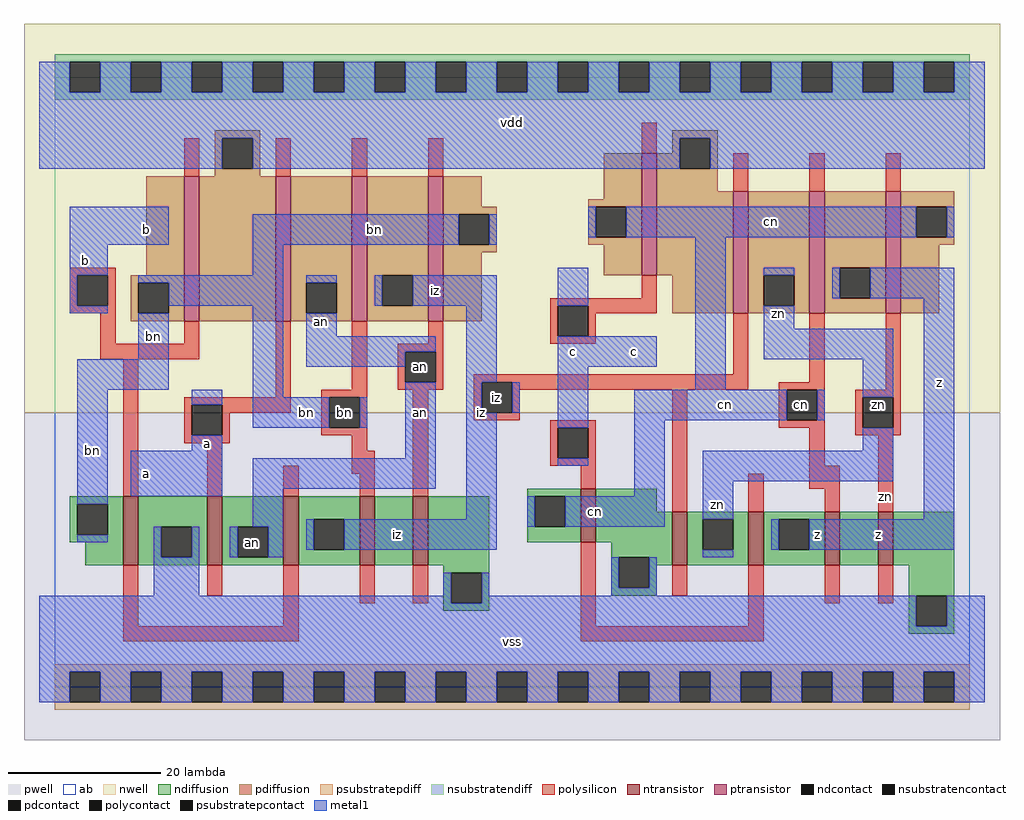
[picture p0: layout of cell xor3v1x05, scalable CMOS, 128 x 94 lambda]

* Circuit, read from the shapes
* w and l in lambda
.subckt xor3v1x05 a an b bn c cn iz vdd vss z zn
M1 vss b bn vss nfet w=9 l=2
M2 an a vss vss nfet w=9 l=2
M3 iz b an vss nfet w=9 l=2
M4 n1 bn iz vss nfet w=9 l=2
M5 vss an n1 vss nfet w=9 l=2
M6 vss c cn vss nfet w=7 l=2
M7 zn iz vss vss nfet w=7 l=2
M8 z c zn vss nfet w=7 l=2
M9 n2 cn z vss nfet w=7 l=2
M10 vss zn n2 vss nfet w=7 l=2
M11 vdd b bn vdd pfet w=19 l=2
M12 an a vdd vdd pfet w=19 l=2
M13 iz bn an vdd pfet w=19 l=2
M14 bn an iz vdd pfet w=19 l=2
M15 vdd c cn vdd pfet w=16 l=2
M16 zn iz vdd vdd pfet w=16 l=2
M17 z cn zn vdd pfet w=16 l=2
M18 cn zn z vdd pfet w=16 l=2
.ends

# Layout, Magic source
magic
tech scmos
<< ab >>
rect 0 0 120 80
<< pwell >>
rect -4 -7 124 36
<< nwell >>
rect -4 36 124 87
<< polysilicon >>
rect 17 67 19 72
rect 29 67 31 72
rect 39 67 41 72
rect 49 67 51 72
rect 77 70 79 74
rect 2 54 8 55
rect 2 50 3 54
rect 7 50 8 54
rect 2 49 8 50
rect 6 45 8 49
rect 89 65 91 70
rect 99 65 101 70
rect 109 65 111 70
rect 77 51 79 54
rect 65 50 79 51
rect 17 45 19 48
rect 6 43 19 45
rect 9 25 11 43
rect 29 38 31 48
rect 39 39 41 48
rect 49 45 51 48
rect 65 46 66 50
rect 70 49 79 50
rect 70 46 71 49
rect 65 45 71 46
rect 45 44 51 45
rect 45 40 46 44
rect 50 40 51 44
rect 89 41 91 49
rect 45 39 51 40
rect 55 40 91 41
rect 99 40 101 49
rect 17 37 31 38
rect 17 33 18 37
rect 22 36 31 37
rect 35 38 41 39
rect 22 33 23 36
rect 35 34 36 38
rect 40 34 41 38
rect 35 33 41 34
rect 17 32 23 33
rect 20 25 22 32
rect 39 31 41 33
rect 30 25 32 29
rect 39 28 42 31
rect 40 25 42 28
rect 47 25 49 39
rect 55 36 56 40
rect 60 39 91 40
rect 95 39 101 40
rect 109 39 111 49
rect 60 36 61 39
rect 55 35 61 36
rect 65 34 71 35
rect 65 30 66 34
rect 70 30 71 34
rect 65 29 71 30
rect 69 26 71 29
rect 81 23 83 39
rect 95 35 96 39
rect 100 35 101 39
rect 95 34 101 35
rect 99 29 101 34
rect 105 38 111 39
rect 105 34 106 38
rect 110 34 111 38
rect 105 33 111 34
rect 91 23 93 28
rect 99 26 103 29
rect 101 23 103 26
rect 108 23 110 33
rect 9 8 11 16
rect 20 12 22 16
rect 30 8 32 16
rect 40 11 42 16
rect 47 11 49 16
rect 9 6 32 8
rect 69 8 71 19
rect 81 12 83 16
rect 91 8 93 16
rect 101 11 103 16
rect 108 11 110 16
rect 69 6 93 8
<< ndiffusion >>
rect 62 25 69 26
rect 2 24 9 25
rect 2 20 3 24
rect 7 20 9 24
rect 2 19 9 20
rect 4 16 9 19
rect 11 21 20 25
rect 11 17 14 21
rect 18 17 20 21
rect 11 16 20 17
rect 22 21 30 25
rect 22 17 24 21
rect 28 17 30 21
rect 22 16 30 17
rect 32 22 40 25
rect 32 18 34 22
rect 38 18 40 22
rect 32 16 40 18
rect 42 16 47 25
rect 49 16 57 25
rect 62 21 63 25
rect 67 21 69 25
rect 62 19 69 21
rect 71 23 79 26
rect 71 19 81 23
rect 51 15 57 16
rect 51 11 52 15
rect 56 11 57 15
rect 51 10 57 11
rect 73 17 81 19
rect 73 13 74 17
rect 78 16 81 17
rect 83 22 91 23
rect 83 18 85 22
rect 89 18 91 22
rect 83 16 91 18
rect 93 22 101 23
rect 93 18 95 22
rect 99 18 101 22
rect 93 16 101 18
rect 103 16 108 23
rect 110 16 118 23
rect 78 13 79 16
rect 73 12 79 13
rect 112 12 118 16
rect 112 8 113 12
rect 117 8 118 12
rect 112 7 118 8
<< pdiffusion >>
rect 21 72 27 73
rect 21 68 22 72
rect 26 68 27 72
rect 21 67 27 68
rect 81 72 87 73
rect 81 70 82 72
rect 12 54 17 67
rect 10 53 17 54
rect 10 49 11 53
rect 15 49 17 53
rect 10 48 17 49
rect 19 48 29 67
rect 31 53 39 67
rect 31 49 33 53
rect 37 49 39 53
rect 31 48 39 49
rect 41 54 49 67
rect 41 50 43 54
rect 47 50 49 54
rect 41 48 49 50
rect 51 63 56 67
rect 72 64 77 70
rect 70 63 77 64
rect 51 62 58 63
rect 51 58 53 62
rect 57 58 58 62
rect 70 59 71 63
rect 75 59 77 63
rect 70 58 77 59
rect 51 57 58 58
rect 51 48 56 57
rect 72 54 77 58
rect 79 68 82 70
rect 86 68 87 72
rect 79 65 87 68
rect 79 54 89 65
rect 81 49 89 54
rect 91 54 99 65
rect 91 50 93 54
rect 97 50 99 54
rect 91 49 99 50
rect 101 55 109 65
rect 101 51 103 55
rect 107 51 109 55
rect 101 49 109 51
rect 111 63 118 65
rect 111 59 113 63
rect 117 59 118 63
rect 111 58 118 59
rect 111 49 116 58
<< metal1 >>
rect -2 78 2 82
rect 6 78 10 82
rect 14 78 18 82
rect 22 78 26 82
rect 30 78 34 82
rect 38 78 42 82
rect 46 78 50 82
rect 54 78 58 82
rect 62 78 66 82
rect 70 78 74 82
rect 78 78 82 82
rect 86 78 90 82
rect 94 78 98 82
rect 102 78 106 82
rect 110 78 114 82
rect 118 78 122 82
rect -2 72 122 78
rect -2 68 22 72
rect 26 68 82 72
rect 86 68 122 72
rect 2 58 15 63
rect 26 58 53 62
rect 57 58 58 62
rect 70 59 71 63
rect 75 59 113 63
rect 117 59 118 63
rect 2 54 7 58
rect 26 54 30 58
rect 2 50 3 54
rect 2 49 7 50
rect 11 53 30 54
rect 15 50 30 53
rect 11 43 15 49
rect 3 39 15 43
rect 3 24 7 39
rect 18 37 22 39
rect 26 38 30 50
rect 33 53 37 54
rect 42 50 43 54
rect 47 50 58 54
rect 33 46 37 49
rect 33 44 50 46
rect 33 42 46 44
rect 26 34 36 38
rect 40 34 41 38
rect 18 31 22 33
rect 10 25 22 31
rect 46 30 50 40
rect 26 26 50 30
rect 54 40 58 50
rect 66 50 70 55
rect 66 42 79 46
rect 54 36 56 40
rect 60 36 61 40
rect 26 21 30 26
rect 54 22 58 36
rect 66 34 70 42
rect 84 39 88 59
rect 93 54 97 55
rect 102 51 103 55
rect 107 51 118 55
rect 93 47 97 50
rect 93 43 110 47
rect 66 29 70 30
rect 76 35 96 39
rect 100 35 101 39
rect 106 38 110 43
rect 76 25 80 35
rect 106 31 110 34
rect 3 19 7 20
rect 13 17 14 21
rect 18 17 19 21
rect 23 17 24 21
rect 28 17 30 21
rect 33 18 34 22
rect 38 18 58 22
rect 62 21 63 25
rect 67 21 80 25
rect 85 27 110 31
rect 85 22 89 27
rect 114 22 118 51
rect 94 18 95 22
rect 99 18 118 22
rect 85 17 89 18
rect 13 12 19 17
rect 51 12 52 15
rect -2 11 52 12
rect 56 12 57 15
rect 73 13 74 17
rect 78 13 79 17
rect 73 12 79 13
rect 56 11 113 12
rect -2 8 113 11
rect 117 8 122 12
rect -2 2 122 8
rect -2 -2 2 2
rect 6 -2 10 2
rect 14 -2 18 2
rect 22 -2 26 2
rect 30 -2 34 2
rect 38 -2 42 2
rect 46 -2 50 2
rect 54 -2 58 2
rect 62 -2 66 2
rect 70 -2 74 2
rect 78 -2 82 2
rect 86 -2 90 2
rect 94 -2 98 2
rect 102 -2 106 2
rect 110 -2 114 2
rect 118 -2 122 2
<< ntransistor >>
rect 9 16 11 25
rect 20 16 22 25
rect 30 16 32 25
rect 40 16 42 25
rect 47 16 49 25
rect 69 19 71 26
rect 81 16 83 23
rect 91 16 93 23
rect 101 16 103 23
rect 108 16 110 23
<< ptransistor >>
rect 17 48 19 67
rect 29 48 31 67
rect 39 48 41 67
rect 49 48 51 67
rect 77 54 79 70
rect 89 49 91 65
rect 99 49 101 65
rect 109 49 111 65
<< polycontact >>
rect 3 50 7 54
rect 66 46 70 50
rect 46 40 50 44
rect 18 33 22 37
rect 36 34 40 38
rect 56 36 60 40
rect 66 30 70 34
rect 96 35 100 39
rect 106 34 110 38
<< ndcontact >>
rect 3 20 7 24
rect 14 17 18 21
rect 24 17 28 21
rect 34 18 38 22
rect 63 21 67 25
rect 52 11 56 15
rect 74 13 78 17
rect 85 18 89 22
rect 95 18 99 22
rect 113 8 117 12
<< pdcontact >>
rect 22 68 26 72
rect 11 49 15 53
rect 33 49 37 53
rect 43 50 47 54
rect 53 58 57 62
rect 71 59 75 63
rect 82 68 86 72
rect 93 50 97 54
rect 103 51 107 55
rect 113 59 117 63
<< psubstratepcontact >>
rect 2 -2 6 2
rect 10 -2 14 2
rect 18 -2 22 2
rect 26 -2 30 2
rect 34 -2 38 2
rect 42 -2 46 2
rect 50 -2 54 2
rect 58 -2 62 2
rect 66 -2 70 2
rect 74 -2 78 2
rect 82 -2 86 2
rect 90 -2 94 2
rect 98 -2 102 2
rect 106 -2 110 2
rect 114 -2 118 2
<< nsubstratencontact >>
rect 2 78 6 82
rect 10 78 14 82
rect 18 78 22 82
rect 26 78 30 82
rect 34 78 38 82
rect 42 78 46 82
rect 50 78 54 82
rect 58 78 62 82
rect 66 78 70 82
rect 74 78 78 82
rect 82 78 86 82
rect 90 78 94 82
rect 98 78 102 82
rect 106 78 110 82
rect 114 78 118 82
<< psubstratepdiff >>
rect 0 2 120 3
rect 0 -2 2 2
rect 6 -2 10 2
rect 14 -2 18 2
rect 22 -2 26 2
rect 30 -2 34 2
rect 38 -2 42 2
rect 46 -2 50 2
rect 54 -2 58 2
rect 62 -2 66 2
rect 70 -2 74 2
rect 78 -2 82 2
rect 86 -2 90 2
rect 94 -2 98 2
rect 102 -2 106 2
rect 110 -2 114 2
rect 118 -2 120 2
rect 0 -3 120 -2
<< nsubstratendiff >>
rect 0 82 120 83
rect 0 78 2 82
rect 6 78 10 82
rect 14 78 18 82
rect 22 78 26 82
rect 30 78 34 82
rect 38 78 42 82
rect 46 78 50 82
rect 54 78 58 82
rect 62 78 66 82
rect 70 78 74 82
rect 78 78 82 82
rect 86 78 90 82
rect 94 78 98 82
rect 102 78 106 82
rect 110 78 114 82
rect 118 78 120 82
rect 0 77 120 78
<< labels >>
rlabel polycontact 38 36 38 36 6 bn
rlabel polycontact 48 42 48 42 6 an
rlabel polycontact 58 38 58 38 6 iz
rlabel polysilicon 109 25 109 25 6 zn
rlabel polycontact 98 37 98 37 6 cn
rlabel metal1 12 28 12 28 6 a
rlabel metal1 5 31 5 31 6 bn
rlabel metal1 13 46 13 46 6 bn
rlabel metal1 4 56 4 56 6 b
rlabel metal1 12 60 12 60 6 b
rlabel ndcontact 26 19 26 19 6 an
rlabel metal1 20 32 20 32 6 a
rlabel metal1 33 36 33 36 6 bn
rlabel metal1 35 48 35 48 6 an
rlabel metal1 60 6 60 6 6 vss
rlabel metal1 45 20 45 20 6 iz
rlabel metal1 48 36 48 36 6 an
rlabel metal1 68 44 68 44 6 c
rlabel metal1 50 52 50 52 6 iz
rlabel metal1 56 36 56 36 6 iz
rlabel metal1 42 60 42 60 6 bn
rlabel metal1 60 74 60 74 6 vdd
rlabel metal1 71 23 71 23 6 cn
rlabel metal1 87 24 87 24 6 zn
rlabel metal1 76 44 76 44 6 c
rlabel metal1 100 20 100 20 6 z
rlabel metal1 108 20 108 20 6 z
rlabel polycontact 108 37 108 37 6 zn
rlabel metal1 88 37 88 37 6 cn
rlabel metal1 116 40 116 40 6 z
rlabel metal1 95 49 95 49 6 zn
rlabel metal1 94 61 94 61 6 cn
<< end >>
